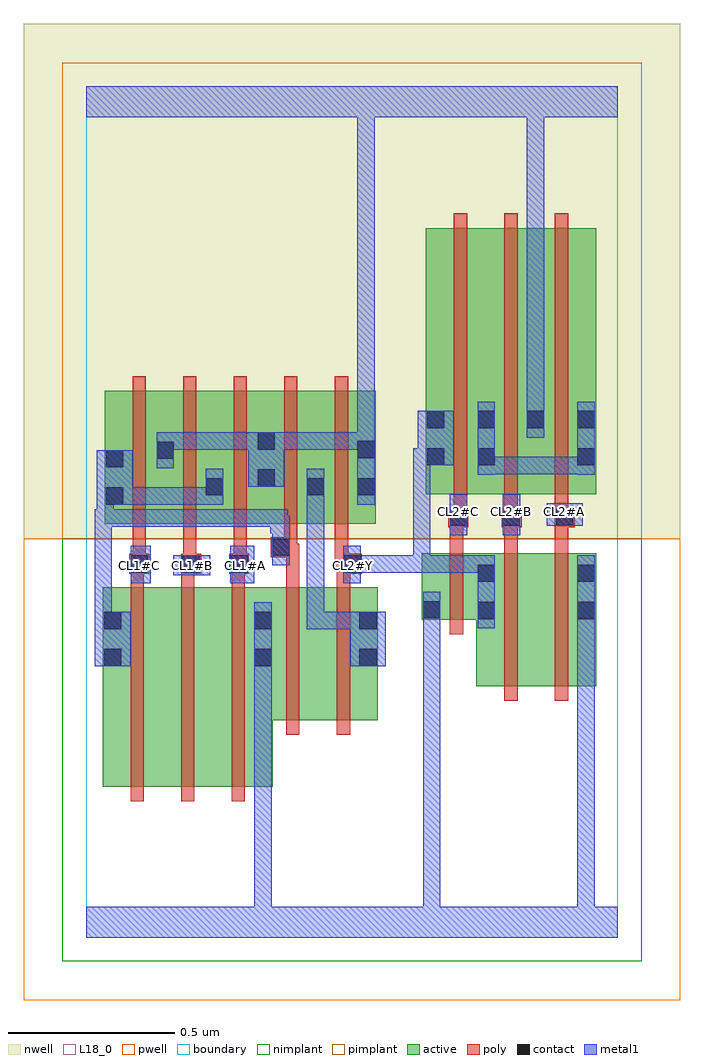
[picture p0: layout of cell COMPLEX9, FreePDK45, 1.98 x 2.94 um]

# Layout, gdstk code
import gdstk
lib = gdstk.Library(unit=1e-6, precision=1e-09)
def R(c, l, rs):  # rectangles x0, y0, x1, y1
    for r in rs: c.add(gdstk.rectangle(r[:2], r[2:], *l))
def A(c, l, x, y, w, h, nx, ny, dx, dy):  # array of equal rectangles
    R(c, l, [(x+i*dx, y+j*dy, x+i*dx+w, y+j*dy+h) for i in range(nx) for j in range(ny)])
active = (1, 0)
pwell = (2, 0)
nwell = (3, 0)
nimplant = (4, 0)
pimplant = (5, 0)
poly = (9, 0)
contact = (10, 0)
metal1 = (11, 0)
L18_0 = (18, 0)
boundary = (235, 0)

complex9 = lib.new_cell('COMPLEX9')
R(complex9, active, [(0.05,0.454,0.11,1.054), (0.05,0.454,0.23,1.054), (0.23,0.454,0.382,1.054), (0.382,0.454,0.562,1.054), (0.502,0.454,0.562,1.054), (0.502,0.654,0.698,1.054), (0.698,0.654,0.878,1.054), (0.818,0.756,0.878,1.054), (1.174,0.756,1.234,1.156), (1.174,0.756,1.354,1.156), (1.354,0.756,1.534,1.156), (1.474,0.756,1.534,1.156), (1.01,0.956,1.234,1.156), (1.01,0.956,1.07,1.156), (0.056,1.244,0.116,1.644), (0.056,1.244,0.268,1.644), (0.208,1.244,0.416,1.644), (0.356,1.244,0.416,1.644), (0.356,1.244,0.572,1.644), (0.512,1.244,0.72,1.644), (0.66,1.244,0.872,1.644), (0.812,1.244,0.872,1.644), (0.66,1.326,0.72,1.644), (1.022,1.334,1.082,2.044), (1.022,1.334,1.234,2.134), (1.174,1.334,1.382,2.134), (1.322,1.334,1.534,2.134), (1.474,1.334,1.534,2.044), (0.512,1.352,0.572,1.644), (1.174,1.416,1.234,2.044), (0.208,1.436,0.268,1.644), (1.322,1.528,1.382,2.044)])
R(complex9, pwell, [(-0.188,-0.188,1.788,1.2)])
R(complex9, nwell, [(-0.188,1.2,1.788,2.748)])
R(complex9, nimplant, [(-0.072,-0.072,1.672,1.2)])
R(complex9, pimplant, [(-0.072,1.2,1.672,2.632)])
A(complex9, poly, 0.134, 0.41, 0.04, 0.688, 3, 1, 0.152, 0)
A(complex9, poly, 0.134, 1.058, 0.04, 0.076, 3, 1, 0.152, 0)
A(complex9, poly, 0.14, 1.114, 0.04, 0.126, 3, 1, 0.152, 0)
A(complex9, poly, 0.14, 1.2, 0.04, 0.488, 5, 1, 0.152, 0)
A(complex9, poly, 1.09, 1.234, 0.06, 0.06, 3, 1, 0.16, 0)
A(complex9, poly, 1.106, 1.254, 0.04, 0.076, 3, 1, 0.152, 0)
A(complex9, poly, 1.106, 1.29, 0.04, 0.888, 3, 1, 0.152, 0)
R(complex9, poly, [(0.602,0.61,0.642,1.098), (0.754,0.61,0.794,1.098), (1.258,0.712,1.298,1.2), (1.41,0.712,1.45,1.2), (1.094,0.912,1.134,1.2), (0.602,1.058,0.642,1.184), (0.754,1.058,0.794,1.134), (0.13,1.094,0.19,1.154), (0.286,1.094,0.346,1.154), (0.43,1.094,0.49,1.154), (0.754,1.094,0.83,1.154), (0.14,1.114,0.18,1.154), (0.14,1.114,0.18,1.154), (0.292,1.114,0.332,1.154), (0.292,1.114,0.332,1.154), (0.444,1.114,0.484,1.154), (0.444,1.114,0.484,1.154), (0.748,1.114,0.788,1.24), (0.748,1.114,0.794,1.154), (0.754,1.114,0.794,1.154), (0.556,1.144,0.636,1.204), (0.596,1.144,0.636,1.184), (0.596,1.144,0.642,1.184), (1.094,1.16,1.134,1.274), (1.258,1.16,1.298,1.274), (1.41,1.16,1.45,1.274), (0.596,1.164,0.636,1.24), (1.258,1.234,1.298,1.274), (1.258,1.234,1.298,1.274), (1.41,1.234,1.45,1.274), (1.41,1.234,1.45,1.274), (1.106,1.254,1.146,1.294), (1.106,1.254,1.146,1.294)])
A(complex9, contact, 1.094, 1.238, 0.052, 0.052, 3, 1, 0.16, 0)
R(complex9, contact, [(0.054,0.816,0.106,0.868), (0.506,0.816,0.558,0.868), (0.822,0.816,0.874,0.868), (0.054,0.928,0.106,0.98), (0.506,0.928,0.558,0.98), (0.822,0.928,0.874,0.98), (1.178,0.958,1.23,1.01), (1.478,0.958,1.53,1.01), (1.014,0.96,1.066,1.012), (1.178,1.07,1.23,1.122), (1.478,1.07,1.53,1.122), (0.134,1.098,0.186,1.15), (0.29,1.098,0.342,1.15), (0.434,1.098,0.486,1.15), (0.774,1.098,0.826,1.15), (0.56,1.148,0.612,1.2), (0.06,1.302,0.112,1.354), (0.36,1.33,0.412,1.382), (0.664,1.33,0.716,1.382), (0.816,1.33,0.868,1.382), (0.516,1.356,0.568,1.408), (0.06,1.414,0.112,1.466), (1.026,1.42,1.078,1.472), (1.178,1.42,1.23,1.472), (1.478,1.42,1.53,1.472), (0.212,1.44,0.264,1.492), (0.816,1.442,0.868,1.494), (0.516,1.468,0.568,1.52), (1.026,1.532,1.078,1.584), (1.178,1.532,1.23,1.584), (1.326,1.532,1.378,1.584), (1.478,1.532,1.53,1.584)])
R(complex9, metal1, [(0,0,1.6,0.092), (0.506,0.04,0.558,0.092), (0.506,0.04,0.558,0.092), (0.506,0.04,0.558,0.092), (0.506,0.04,0.558,0.092), (0.506,0.04,0.558,0.092), (0.506,0.04,0.558,0.092), (0.506,0.04,0.558,0.092), (0.506,0.04,0.558,0.092), (0.506,0.04,0.558,0.84), (1.014,0.04,1.066,0.984), (1.478,0.04,1.53,0.092), (1.478,0.04,1.53,0.092), (1.478,0.04,1.53,0.092), (1.478,0.04,1.53,0.092), (1.478,0.04,1.53,0.092), (1.478,0.04,1.53,0.092), (1.478,0.04,1.53,0.092), (1.478,0.04,1.53,0.092), (1.478,0.04,1.53,0.982), (0.506,0.788,0.558,1.008), (0.026,0.816,0.134,0.98), (0.794,0.816,0.902,0.98), (0.026,0.928,0.078,0.98), (0.026,0.928,0.078,0.98), (0.026,0.928,0.078,1.288), (0.664,0.928,0.716,0.98), (0.664,0.928,0.716,0.98), (0.664,0.928,0.716,0.98), (0.664,0.928,0.846,0.98), (0.664,0.928,0.716,1.354), (0.794,0.928,0.846,0.98), (0.794,0.928,0.846,0.98), (1.178,0.93,1.23,1.15), (1.478,0.93,1.53,1.15), (1.478,0.93,1.53,0.982), (1.478,0.93,1.53,0.982), (1.478,0.93,1.53,0.982), (1.478,0.93,1.53,0.982), (1.014,0.932,1.066,0.984), (1.014,0.932,1.066,0.984), (1.014,0.932,1.066,0.984), (1.014,0.932,1.066,0.984), (1.014,0.932,1.066,0.984), (1.014,0.932,1.066,0.984), (1.014,0.932,1.066,0.984), (1.014,0.932,1.066,0.984), (1.014,0.932,1.066,0.984), (1.014,0.932,1.066,0.984), (1.014,0.932,1.066,0.984), (1.014,0.932,1.066,0.984), (1.014,0.932,1.066,0.984), (1.014,0.932,1.066,0.984), (1.014,0.932,1.066,0.984), (1.014,0.932,1.066,0.984), (1.014,0.932,1.066,1.04), (0.134,1.066,0.194,1.178), (0.434,1.066,0.506,1.178), (0.774,1.066,0.826,1.178), (0.262,1.09,0.374,1.15), (0.774,1.098,0.826,1.15), (0.774,1.098,0.826,1.15), (0.774,1.098,1.036,1.15), (0.984,1.098,1.036,1.15), (0.984,1.098,1.036,1.15), (0.984,1.098,1.036,1.15), (0.984,1.098,1.036,1.15), (0.984,1.098,1.036,1.15), (0.984,1.098,1.23,1.15), (0.984,1.098,1.036,1.472), (0.56,1.12,0.612,1.268), (1.094,1.21,1.146,1.334), (1.254,1.21,1.306,1.334), (0.554,1.216,0.612,1.268), (0.554,1.216,0.606,1.288), (0.026,1.236,0.084,1.288), (0.032,1.236,0.084,1.288), (0.032,1.236,0.084,1.288), (0.032,1.236,0.302,1.288), (0.032,1.236,0.084,1.354), (0.25,1.236,0.302,1.288), (0.25,1.236,0.302,1.288), (0.25,1.236,0.302,1.288), (0.25,1.236,0.412,1.288), (0.36,1.236,0.412,1.288), (0.36,1.236,0.412,1.288), (0.36,1.236,0.412,1.288), (0.36,1.236,0.606,1.288), (1.386,1.238,1.494,1.306), (0.032,1.302,0.14,1.466), (0.088,1.302,0.14,1.354), (0.088,1.302,0.14,1.354), (0.088,1.302,0.25,1.354), (0.198,1.302,0.25,1.354), (0.198,1.302,0.25,1.354), (0.198,1.302,0.25,1.354), (0.198,1.302,0.412,1.354), (0.36,1.302,0.412,1.41), (0.664,1.302,0.716,1.354), (0.664,1.302,0.716,1.354), (0.664,1.302,0.716,1.41), (0.816,1.302,0.868,1.522), (0.488,1.356,0.596,1.52), (1.178,1.392,1.23,1.612), (1.478,1.392,1.53,1.612), (1.178,1.394,1.23,1.446), (1.178,1.394,1.23,1.446), (1.178,1.394,1.402,1.446), (1.35,1.394,1.402,1.446), (1.35,1.394,1.45,1.446), (1.398,1.394,1.53,1.446), (1.398,1.394,1.45,1.446), (0.212,1.412,0.264,1.52), (0.984,1.42,1.05,1.472), (0.998,1.42,1.05,1.472), (0.998,1.42,1.106,1.584), (0.212,1.468,0.264,1.52), (0.212,1.468,0.264,1.52), (0.212,1.468,0.43,1.52), (0.378,1.468,0.43,1.52), (0.378,1.468,0.43,1.52), (0.378,1.468,0.43,1.52), (0.378,1.468,0.54,1.52), (0.544,1.468,0.676,1.52), (0.624,1.468,0.676,1.52), (0.624,1.468,0.716,1.52), (0.664,1.468,0.716,1.52), (0.664,1.468,0.868,1.52), (0.816,1.468,0.868,1.52), (0.816,1.468,0.868,1.52), (0.816,1.47,0.868,1.522), (0.816,1.47,0.868,1.522), (0.816,1.47,0.868,1.522), (0.816,1.47,0.868,1.522), (0.816,1.47,0.868,1.522), (0.816,1.47,0.868,1.522), (0.816,1.47,0.868,1.522), (0.816,1.47,0.868,1.522), (0.816,1.47,0.868,2.52), (1.326,1.504,1.378,1.612), (1.326,1.56,1.378,1.612), (1.326,1.56,1.378,1.612), (1.326,1.56,1.378,1.612), (1.326,1.56,1.378,1.612), (1.326,1.56,1.378,1.612), (1.326,1.56,1.378,1.612), (1.326,1.56,1.378,1.612), (1.326,1.56,1.378,1.612), (1.326,1.56,1.378,2.52), (0,2.468,1.6,2.56), (0.816,2.468,0.868,2.52), (0.816,2.468,0.868,2.52), (0.816,2.468,0.868,2.52), (0.816,2.468,0.868,2.52), (0.816,2.468,0.868,2.52), (0.816,2.468,0.868,2.52), (0.816,2.468,0.868,2.52), (0.816,2.468,0.868,2.52)])
A(complex9, L18_0, 0.134, 1.094, 0.052, 0.052, 3, 1, 0.16, 0)
A(complex9, L18_0, 1.094, 1.254, 0.052, 0.052, 3, 1, 0.16, 0)
R(complex9, L18_0, [(0,0,1.6,0.092), (0.506,0.04,0.558,0.092), (0.506,0.04,0.558,0.092), (0.506,0.04,0.558,0.092), (0.506,0.04,0.558,0.092), (0.506,0.04,0.558,0.092), (0.506,0.04,0.558,0.092), (0.506,0.04,0.558,0.092), (0.506,0.04,0.558,0.092), (0.506,0.04,0.558,0.84), (1.014,0.04,1.066,0.984), (1.478,0.04,1.53,0.092), (1.478,0.04,1.53,0.092), (1.478,0.04,1.53,0.092), (1.478,0.04,1.53,0.092), (1.478,0.04,1.53,0.092), (1.478,0.04,1.53,0.092), (1.478,0.04,1.53,0.092), (1.478,0.04,1.53,0.092), (1.478,0.04,1.53,0.982), (0.506,0.788,0.558,1.008), (1.178,0.93,1.23,1.15), (1.478,0.93,1.53,0.982), (1.478,0.93,1.53,0.982), (1.478,0.93,1.53,0.982), (1.478,0.93,1.53,0.982), (1.478,0.93,1.53,1.15), (1.014,0.932,1.066,1.04), (1.014,0.932,1.066,0.984), (1.014,0.932,1.066,0.984), (1.014,0.932,1.066,0.984), (1.014,0.932,1.066,0.984), (1.014,0.932,1.066,0.984), (1.014,0.932,1.066,0.984), (1.014,0.932,1.066,0.984), (1.014,0.932,1.066,0.984), (1.014,0.932,1.066,0.984), (1.014,0.932,1.066,0.984), (1.014,0.932,1.066,0.984), (1.014,0.932,1.066,0.984), (1.014,0.932,1.066,0.984), (1.014,0.932,1.066,0.984), (1.014,0.932,1.066,0.984), (1.014,0.932,1.066,0.984), (0.134,1.066,0.194,1.178), (0.434,1.066,0.506,1.178), (0.774,1.066,0.826,1.178), (0.262,1.09,0.374,1.15), (0.774,1.094,0.826,1.146), (0.774,1.098,0.826,1.15), (0.774,1.098,0.826,1.15), (0.774,1.098,1.036,1.15), (0.984,1.098,1.036,1.15), (0.984,1.098,1.036,1.15), (0.984,1.098,1.036,1.15), (0.984,1.098,1.036,1.15), (0.984,1.098,1.036,1.15), (0.984,1.098,1.036,1.472), (0.984,1.098,1.23,1.15), (1.094,1.21,1.146,1.334), (1.254,1.21,1.306,1.334), (1.386,1.238,1.494,1.306), (0.816,1.302,0.868,1.522), (0.488,1.356,0.596,1.52), (0.212,1.412,0.264,1.52), (0.984,1.42,1.05,1.472), (0.998,1.42,1.05,1.472), (0.998,1.42,1.106,1.584), (0.212,1.468,0.264,1.52), (0.212,1.468,0.264,1.52), (0.212,1.468,0.43,1.52), (0.378,1.468,0.43,1.52), (0.378,1.468,0.43,1.52), (0.378,1.468,0.43,1.52), (0.378,1.468,0.54,1.52), (0.544,1.468,0.676,1.52), (0.624,1.468,0.676,1.52), (0.624,1.468,0.716,1.52), (0.664,1.468,0.716,1.52), (0.664,1.468,0.868,1.52), (0.816,1.468,0.868,1.52), (0.816,1.468,0.868,1.52), (0.816,1.47,0.868,1.522), (0.816,1.47,0.868,1.522), (0.816,1.47,0.868,1.522), (0.816,1.47,0.868,1.522), (0.816,1.47,0.868,1.522), (0.816,1.47,0.868,1.522), (0.816,1.47,0.868,1.522), (0.816,1.47,0.868,1.522), (0.816,1.47,0.868,2.52), (1.326,1.504,1.378,1.612), (1.326,1.56,1.378,1.612), (1.326,1.56,1.378,1.612), (1.326,1.56,1.378,1.612), (1.326,1.56,1.378,1.612), (1.326,1.56,1.378,1.612), (1.326,1.56,1.378,1.612), (1.326,1.56,1.378,1.612), (1.326,1.56,1.378,1.612), (1.326,1.56,1.378,2.52), (0,2.468,1.6,2.56), (0.816,2.468,0.868,2.52), (0.816,2.468,0.868,2.52), (0.816,2.468,0.868,2.52), (0.816,2.468,0.868,2.52), (0.816,2.468,0.868,2.52), (0.816,2.468,0.868,2.52), (0.816,2.468,0.868,2.52), (0.816,2.468,0.868,2.52)])
R(complex9, boundary, [(0,0,1.6,2.56)])
complex9.add(gdstk.Label('CL1#A', (0.48,1.12), layer=11, texttype=0))
complex9.add(gdstk.Label('CL1#B', (0.32,1.12), layer=11, texttype=0))
complex9.add(gdstk.Label('CL1#C', (0.16,1.12), layer=11, texttype=0))
complex9.add(gdstk.Label('CL2#A', (1.44,1.28), layer=11, texttype=0))
complex9.add(gdstk.Label('CL2#B', (1.28,1.28), layer=11, texttype=0))
complex9.add(gdstk.Label('CL2#C', (1.12,1.28), layer=11, texttype=0))
complex9.add(gdstk.Label('CL2#Y', (0.8,1.12), layer=11, texttype=0))

lib.write_gds('COMPLEX9.gds')
